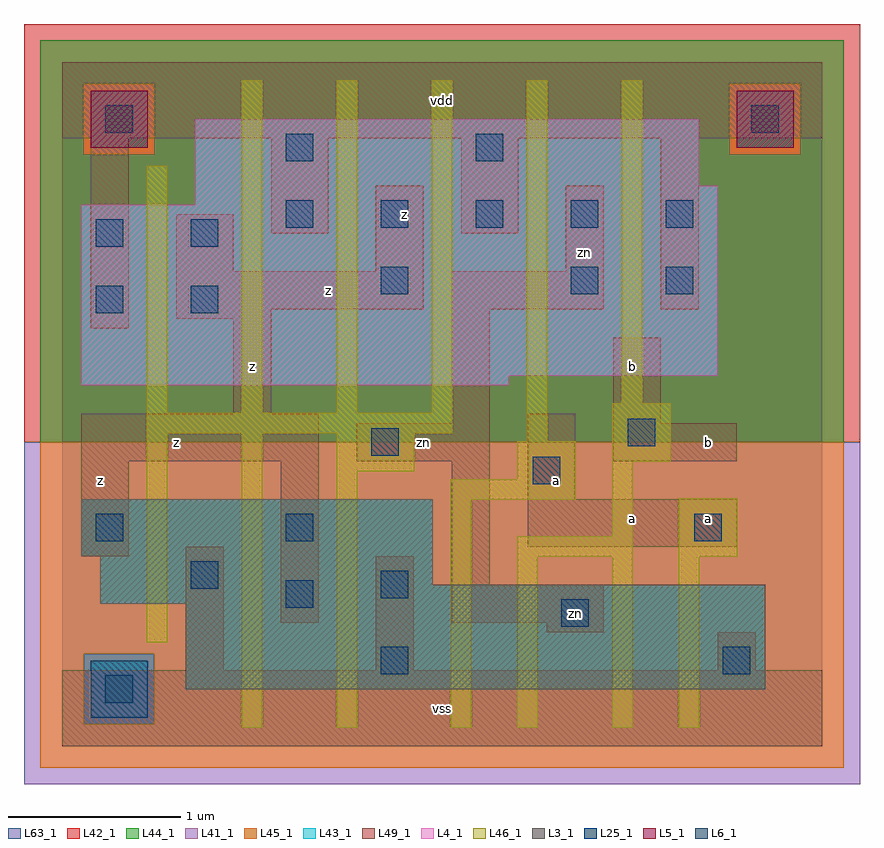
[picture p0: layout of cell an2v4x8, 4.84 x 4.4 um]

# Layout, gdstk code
import gdstk
lib = gdstk.Library(unit=1e-6, precision=1e-09)
def R(c, l, rs):  # rectangles x0, y0, x1, y1
    for r in rs: c.add(gdstk.rectangle(r[:2], r[2:], *l))
def A(c, l, x, y, w, h, nx, ny, dx, dy):  # array of equal rectangles
    R(c, l, [(x+i*dx, y+j*dy, x+i*dx+w, y+j*dy+h) for i in range(nx) for j in range(ny)])
L3_1 = (3, 1)
L4_1 = (4, 1)
L5_1 = (5, 1)
L6_1 = (6, 1)
L25_1 = (25, 1)
L41_1 = (41, 1)
L42_1 = (42, 1)
L43_1 = (43, 1)
L44_1 = (44, 1)
L45_1 = (45, 1)
L46_1 = (46, 1)
L49_1 = (49, 1)
L63_1 = (63, 1)

an2v4x8 = lib.new_cell('an2v4x8')
R(an2v4x8, L3_1, [(0.715,0.33,4.07,0.825), (0.22,0.825,4.07,0.935), (0.22,0.935,2.145,1.1), (0.11,1.1,2.145,1.43)])
R(an2v4x8, L4_1, [(0.11,2.09,2.585,2.145), (0.11,2.145,3.795,3.135), (0.77,3.135,3.795,3.245), (0.77,3.245,3.685,3.63)])
R(an2v4x8, L5_1, [(0.165,3.465,0.495,3.795), (3.905,3.465,4.235,3.795)])
R(an2v4x8, L6_1, [(0.165,0.165,0.495,0.495)])
A(an2v4x8, L25_1, 1.295, 3, 0.16, 0.16, 5, 1, 0.55, 0)
R(an2v4x8, L25_1, [(0.25,0.25,0.41,0.41), (1.845,0.415,2.005,0.575), (3.825,0.415,3.985,0.575), (2.89,0.69,3.05,0.85), (1.295,0.8,1.455,0.96), (1.845,0.855,2.005,1.015), (0.745,0.91,0.905,1.07), (0.195,1.185,0.355,1.345), (1.295,1.185,1.455,1.345), (3.66,1.185,3.82,1.345), (2.725,1.515,2.885,1.675), (1.79,1.68,1.95,1.84), (3.275,1.735,3.435,1.895), (0.195,2.505,0.355,2.665), (0.745,2.505,0.905,2.665), (1.845,2.615,2.005,2.775), (2.945,2.615,3.105,2.775), (3.495,2.615,3.655,2.775), (0.195,2.89,0.355,3.05), (0.745,2.89,0.905,3.05), (1.295,3.385,1.455,3.545), (2.395,3.385,2.555,3.545), (0.25,3.55,0.41,3.71), (3.99,3.55,4.15,3.71)])
R(an2v4x8, L41_1, [(-0.22,-0.22,4.62,1.76)])
R(an2v4x8, L42_1, [(-0.22,1.76,4.62,4.18)])
R(an2v4x8, L43_1, [(0.165,0.165,0.495,0.495), (0.715,0.33,4.07,0.825), (0.22,0.825,4.07,0.935), (0.22,0.935,2.145,1.1), (0.11,1.1,2.145,1.43), (0.11,2.09,2.585,2.145), (0.11,2.145,3.795,3.135), (0.77,3.135,3.795,3.245), (0.77,3.245,3.685,3.63), (0.165,3.465,0.495,3.795), (3.905,3.465,4.235,3.795)])
R(an2v4x8, L44_1, [(0.125,0.125,0.535,0.535), (-0.125,1.76,4.525,3.425), (-0.125,3.425,0.125,3.835), (0.535,3.425,3.865,3.835), (4.275,3.425,4.525,3.835), (-0.125,3.835,4.525,4.085)])
R(an2v4x8, L45_1, [(-0.125,-0.125,4.525,0.125), (-0.125,0.125,0.125,0.535), (0.535,0.125,4.525,0.535), (-0.125,0.535,4.525,1.76), (0.125,3.425,0.535,3.835), (3.865,3.425,4.275,3.835)])
A(an2v4x8, L46_1, 1.04, 1.93, 0.12, 1.925, 3, 1, 0.55, 0)
R(an2v4x8, L46_1, [(1.04,0.105,1.16,1.81), (1.59,0.105,1.71,1.59), (2.25,0.105,2.37,1.425), (2.635,0.105,2.755,1.095), (3.185,0.105,3.305,1.095), (3.57,0.105,3.69,1.095), (0.49,0.6,0.61,1.81), (2.635,1.095,3.305,1.215), (3.57,1.095,3.91,1.435), (3.185,1.215,3.305,1.645), (2.25,1.425,2.975,1.545), (2.635,1.545,2.975,1.765), (1.59,1.59,2.04,1.81), (3.185,1.645,3.525,1.985), (2.69,1.765,2.81,3.855), (0.49,1.81,2.26,1.93), (0.49,1.93,0.61,3.36), (3.24,1.985,3.36,3.855)])
R(an2v4x8, L49_1, [(0,0,4.4,0.44), (0.715,0.44,0.935,1.155), (1.815,0.44,2.035,1.1), (3.795,0.44,4.015,0.66), (2.805,0.66,3.135,0.715), (1.265,0.715,1.485,1.65), (2.255,0.715,3.135,0.935), (2.255,0.935,2.475,1.65), (0.11,1.1,0.385,1.65), (2.695,1.155,3.905,1.43), (2.695,1.43,2.97,1.925), (0.11,1.65,1.485,1.925), (1.705,1.65,2.475,1.87), (3.19,1.65,3.905,1.87), (2.255,1.87,2.475,2.53), (3.19,1.87,3.465,2.365), (0.99,1.925,1.21,2.475), (0.165,2.42,0.385,3.52), (0.66,2.475,1.21,2.53), (0.66,2.53,2.09,2.75), (2.255,2.53,3.135,2.75), (3.465,2.53,3.685,3.52), (0.66,2.75,0.99,3.08), (1.815,2.75,2.09,3.245), (2.915,2.75,3.135,3.245), (1.21,2.97,1.54,3.52), (2.31,2.97,2.64,3.52), (0,3.52,4.4,3.96)])
R(an2v4x8, L63_1, [(0,0,4.4,3.96)])
an2v4x8.add(gdstk.Label('z', (0.22,1.54), layer=49, texttype=1))
an2v4x8.add(gdstk.Label('z', (0.66,1.76), layer=49, texttype=1))
an2v4x8.add(gdstk.Label('z', (1.1,2.2), layer=49, texttype=1))
an2v4x8.add(gdstk.Label('z', (1.54,2.64), layer=49, texttype=1))
an2v4x8.add(gdstk.Label('vss', (2.2,0.22), layer=49, texttype=1))
an2v4x8.add(gdstk.Label('zn', (2.09,1.76), layer=49, texttype=1))
an2v4x8.add(gdstk.Label('z', (1.98,3.08), layer=49, texttype=1))
an2v4x8.add(gdstk.Label('vdd', (2.2,3.74), layer=49, texttype=1))
an2v4x8.add(gdstk.Label('zn', (2.97,0.77), layer=49, texttype=1))
an2v4x8.add(gdstk.Label('a', (3.3,1.32), layer=49, texttype=1))
an2v4x8.add(gdstk.Label('a', (2.86,1.54), layer=49, texttype=1))
an2v4x8.add(gdstk.Label('b', (3.3,2.2), layer=49, texttype=1))
an2v4x8.add(gdstk.Label('zn', (3.025,2.86), layer=49, texttype=1))
an2v4x8.add(gdstk.Label('a', (3.74,1.32), layer=49, texttype=1))
an2v4x8.add(gdstk.Label('b', (3.74,1.76), layer=49, texttype=1))

lib.write_gds('an2v4x8.gds')
